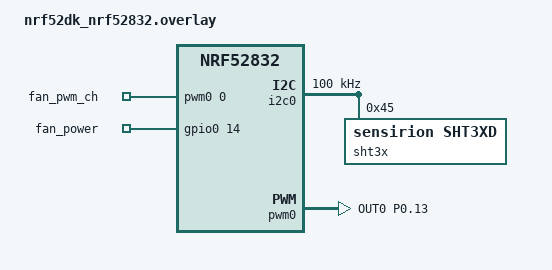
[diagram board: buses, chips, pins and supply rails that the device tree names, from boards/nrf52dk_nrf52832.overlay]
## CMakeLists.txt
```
cmake_minimum_required(VERSION 3.20.0)
find_package(Zephyr REQUIRED HINTS $ENV{ZEPHYR_BASE})
project(coolingdock_nrf)

target_sources(app PRIVATE
	src/main.c
	src/sys_data.c
	src/sensor.c
	src/fan.c
	src/control.c
	src/control_logic.c
	src/json_io.c
	src/cmd_interpreter.c
	src/ble_svc.c
)

target_include_directories(app PRIVATE src)

# Tighten warnings on app sources. We don't add -Werror here because
# Zephyr's own headers occasionally trip GCC pedantic warnings on
# specific board targets; -Werror is enabled in the test builds (see
# tests/*/prj.conf) where we control the surface area.
target_compile_options(app PRIVATE -Wall -Wextra)
```

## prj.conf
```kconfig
# ---------------------------------------------------------------- Bluetooth
CONFIG_BT=y
CONFIG_BT_PERIPHERAL=y
CONFIG_BT_DEVICE_NAME="CoolingDockNRF"
CONFIG_BT_DEVICE_NAME_DYNAMIC=y
CONFIG_BT_DEVICE_NAME_MAX=24
CONFIG_BT_MAX_CONN=1

# Larger MTU so JSON status notifications fit without app-side fragmentation.
# Frontend chunks writes at 200 B; mirror that on the link layer.
CONFIG_BT_L2CAP_TX_MTU=247
CONFIG_BT_BUF_ACL_RX_SIZE=251
CONFIG_BT_BUF_ACL_TX_SIZE=251
CONFIG_BT_CTLR_DATA_LENGTH_MAX=251

# ---------------------------------------------- Pairing & bond persistence
# Encrypted characteristic perms cause the host to trigger LE Secure
# Connections just-works pairing automatically on first read; the bond is
# then stored to flash and reused on subsequent connections.
CONFIG_BT_SMP=y
CONFIG_BT_SMP_SC_PAIR_ONLY=y
CONFIG_BT_BONDABLE=y
CONFIG_BT_SETTINGS=y

# Filter Accept List — used to restrict advertising to bonded peers
# after the 120 s open pairing window expires.
CONFIG_BT_FILTER_ACCEPT_LIST=y

# When the bond table is full, evict the oldest bond instead of
# refusing the new pairing.
CONFIG_BT_KEYS_OVERWRITE_OLDEST=y

# -------------------------------------------------------------- Sensors / I2C
CONFIG_I2C=y
CONFIG_SENSOR=y
CONFIG_SHT3XD=y
# Single-shot measurement mode is more tolerant of marginal I2C lines
# than the default periodic mode — each sample is its own send-cmd +
# read-result transaction with no persistent chip state to break.
CONFIG_SHT3XD_SINGLE_SHOT_MODE=y

# -------------------------------------------------------------- PWM / GPIO
CONFIG_PWM=y
CONFIG_GPIO=y

# -------------------------------------- Persistent settings (NVS-backed)
CONFIG_FLASH=y
CONFIG_FLASH_PAGE_LAYOUT=y
CONFIG_FLASH_MAP=y
CONFIG_NVS=y
CONFIG_SETTINGS=y
CONFIG_SETTINGS_NVS=y

# ------------------------------------------------------------------ Logging
CONFIG_LOG=y
CONFIG_LOG_DEFAULT_LEVEL=3

# ----------------------------------------------------------- Heap / stacks
CONFIG_HEAP_MEM_POOL_SIZE=4096
CONFIG_MAIN_STACK_SIZE=2048
CONFIG_SYSTEM_WORKQUEUE_STACK_SIZE=2048

# ----------------------------------------------------------- Misc
CONFIG_REBOOT=y

# ----------------------------------------------------------- Power management
# Let the kernel place the SoC into deep sleep states between events.
# Harmless on USB-powered builds; load-bearing when serial is also
# disabled (see power_profile.conf for the power-test build path).
# DCDC mode is enabled by the board file at `&reg`; no Kconfig needed.
CONFIG_PM=y
CONFIG_PM_DEVICE=y
# CONFIG_LOG_BACKEND_UART=n         # add this (or set CONFIG_LOG=n entirely)                                 
# CONFIG_LOG_BACKEND_RTT=y          # if you want logs via RTT instead 
```

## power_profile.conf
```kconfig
# Power-profile build overrides.
#
# Layered on top of prj.conf when measuring with the PPK2:
#
#   west build -b nrf52dk/nrf52832 -p always . -- -DEXTRA_CONF_FILE=power_profile.conf
#   west flash
#
# Disables every always-on peripheral that's purely for development
# convenience (UART driver, console, log backend, boot banner) so the
# SoC can actually enter the deep sleep states the BLE controller
# leaves it in between adv events.
#
# Measured impact on this firmware (advertising-only mode, no peer):
#   prj.conf alone (default):           1.45 mA average
#   prj.conf + this overlay:             377 µA average  (−74%)
#
# Trade-off: no boot log over the J-Link VCOM. For everyday development
# build without this overlay so you keep the console.

# UART driver out entirely — the peripheral itself, not just the log
# backend. CONFIG_SERIAL=y is the default and silently holds clocks
# active even with no log backend attached.
CONFIG_SERIAL=n
CONFIG_UART_CONSOLE=n
CONFIG_LOG_BACKEND_UART=n
CONFIG_BOOT_BANNER=n
```

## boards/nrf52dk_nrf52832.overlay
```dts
/* Devicetree overlay for the CoolingDock-equivalent build on the
 * nRF52832 DK (PCA10040). Pin labels are the on-board silkscreen
 * Pn.mm format (port n, pin mm); see the silkscreen on the board
 * back-side or refer to the PCA10040 hardware files for physical
 * header positions.
 *
 * Pin map:
 *   P0.27   I2C0 SCL        -> SHT3x SCL
 *   P0.26   I2C0 SDA        -> SHT3x SDA
 *   P0.13   PWM0 channel 0  -> Fan PWM   (22 kHz)
 *   P0.14   GPIO out        -> Fan power gate (active-high)
 */

#include <zephyr/dt-bindings/pwm/pwm.h>

/* ------------------------------------------------------------------ pinctrl */

&pinctrl {
	pwm0_default: pwm0_default {
		group1 {
			psels = <NRF_PSEL(PWM_OUT0, 0, 13)>;
		};
	};

	pwm0_sleep: pwm0_sleep {
		group1 {
			psels = <NRF_PSEL(PWM_OUT0, 0, 13)>;
			low-power-enable;
		};
	};
};

/* P0.13 / P0.14 are also BUTTON1 / BUTTON2 on PCA10040; we use them as
 * fan PWM and fan-power-gate outputs, so disable the board's button
 * nodes for those pins to prevent a future Kconfig flip from claiming
 * them under us. */
&button0 { status = "disabled"; };
&button1 { status = "disabled"; };

/* --------------------------------------------------------------------- I2C0 */

&i2c0 {
	status = "okay";
	/* nRF52 TWI peripheral only accepts 100 kHz / 250 kHz / 400 kHz
	 * (any other value triggers a build-time BUILD_ASSERT). Stick
	 * with standard 100 kHz; if the bus is marginal because of weak
	 * pull-ups, the fix is to add physical 4.7 kΩ resistors to
	 * VDD on SDA + SCL — slowing the clock isn't an option here. */
	clock-frequency = <I2C_BITRATE_STANDARD>;

	sht3x: sht3xd@45 {
		compatible = "sensirion,sht3xd";
		reg = <0x45>;     /* SHT3x ADDR pin tied to VDD. Tie ADDR to GND for 0x44. */
	};
};

/* --------------------------------------------------------------------- PWM0 */

&pwm0 {
	status = "okay";
	pinctrl-0 = <&pwm0_default>;
	pinctrl-1 = <&pwm0_sleep>;
	pinctrl-names = "default", "sleep";
};

/* ---------------------------------------------- application aliases / nodes */

/ {
	fan_pwms {
		compatible = "pwm-leds";
		status = "okay";
		fan_pwm_ch: fan_pwm_ch {
			pwms = <&pwm0 0 PWM_HZ(22000) PWM_POLARITY_NORMAL>;
		};
	};

	fan_power_gpios {
		compatible = "gpio-leds";
		status = "okay";
		fan_power: fan_power {
			gpios = <&gpio0 14 GPIO_ACTIVE_HIGH>;
		};
	};

	aliases {
		fan-pwm     = &fan_pwm_ch;
		fan-power   = &fan_power;
		sht3x       = &sht3x;
		/* BUTTON3 on PCA10040 (P0.15). Hold for 5 s to reopen the
		 * 120 s BLE pairing window. The DK board file already
		 * declares button2 with proper GPIO_PULL_UP|ACTIVE_LOW. */
		pairing-btn = &button2;
	};
};
```

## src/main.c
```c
#include <zephyr/kernel.h>
#include <zephyr/settings/settings.h>
#include <zephyr/logging/log.h>

#include "sys_data.h"
#include "sensor.h"
#include "fan.h"
#include "control.h"
#include "cmd_interpreter.h"
#include "ble_svc.h"

LOG_MODULE_REGISTER(main, LOG_LEVEL_INF);

int main(void)
{
	int rc;

	LOG_INF("CoolingDock-NRF starting");

	rc = settings_subsys_init();
	if (rc) LOG_ERR("settings_subsys_init: %d", rc);

	(void)sys_data_init();      /* loads persisted overrides */
	cmd_interpreter_init();          /* caches device UID */

	rc = fan_init();
	if (rc) LOG_ERR("fan_init: %d", rc);

	sensor_start();
	control_start();

	rc = ble_svc_start();
	if (rc) LOG_ERR("ble_svc_start: %d", rc);

	LOG_INF("init complete");
	return 0;
}
```

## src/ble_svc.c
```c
#include "ble_svc.h"
#include "cmd_interpreter.h"
#include "json_io.h"
#include "sys_data.h"

#include <errno.h>
#include <string.h>
#include <zephyr/kernel.h>
#include <zephyr/sys/atomic.h>
#include <zephyr/drivers/gpio.h>
#include <zephyr/bluetooth/bluetooth.h>
#include <zephyr/bluetooth/conn.h>
#include <zephyr/bluetooth/gap.h>
#include <zephyr/bluetooth/gatt.h>
#include <zephyr/bluetooth/uuid.h>
#include <zephyr/bluetooth/hci.h>
#include <zephyr/settings/settings.h>
#include <zephyr/logging/log.h>

LOG_MODULE_REGISTER(ble_svc, LOG_LEVEL_INF);

/* ----------------------------------------------------------- UUIDs
 *
 * Wire-compatible with the React frontend at react_projects/CoolingDock.
 *   Service:  59462f12-9543-9999-12c8-58b459a2712d
 *   Status:   33333333-2222-2222-1111-111100000001  R + N (encrypted)
 *   Command:  33333333-2222-2222-1111-111100000002  W     (encrypted)
 *   DevInfo:  33333333-2222-2222-1111-111100000004  R     (encrypted)
 *   PrpConf:  33333333-2222-2222-1111-111100000005  R     (encrypted)
 */

#define UUID_SVC_VAL \
	BT_UUID_128_ENCODE(0x59462f12, 0x9543, 0x9999, 0x12c8, 0x58b459a2712dULL)
#define UUID_STATUS_VAL \
	BT_UUID_128_ENCODE(0x33333333, 0x2222, 0x2222, 0x1111, 0x111100000001ULL)
#define UUID_CMD_VAL \
	BT_UUID_128_ENCODE(0x33333333, 0x2222, 0x2222, 0x1111, 0x111100000002ULL)
#define UUID_DEVINFO_VAL \
	BT_UUID_128_ENCODE(0x33333333, 0x2222, 0x2222, 0x1111, 0x111100000004ULL)
#define UUID_PRPCONF_VAL \
	BT_UUID_128_ENCODE(0x33333333, 0x2222, 0x2222, 0x1111, 0x111100000005ULL)

static const struct bt_uuid_128 uuid_svc     = BT_UUID_INIT_128(UUID_SVC_VAL);
static const struct bt_uuid_128 uuid_status  = BT_UUID_INIT_128(UUID_STATUS_VAL);
static const struct bt_uuid_128 uuid_cmd     = BT_UUID_INIT_128(UUID_CMD_VAL);
static const struct bt_uuid_128 uuid_devinfo = BT_UUID_INIT_128(UUID_DEVINFO_VAL);
static const struct bt_uuid_128 uuid_prpconf = BT_UUID_INIT_128(UUID_PRPCONF_VAL);

/* ------------------------------------------------------- adv data
 *
 * NCS v3.3 / Zephyr 4.x removed BT_LE_ADV_OPT_USE_NAME — we have to put
 * the name TLV in `ad[]` ourselves. To stay responsive to bt_set_name()
 * at runtime, we rebuild this array (see build_ad below) right before
 * each bt_le_adv_start, reading the current value via bt_get_name().
 */

static const uint8_t flags_byte = (BT_LE_AD_GENERAL | BT_LE_AD_NO_BREDR);
static struct bt_data ad[2];

static void build_ad(void)
{
	const char *name = bt_get_name();
	size_t name_len = name ? strlen(name) : 0;

	ad[0] = (struct bt_data){
		.type     = BT_DATA_FLAGS,
		.data_len = sizeof(flags_byte),
		.data     = &flags_byte,
	};
	ad[1] = (struct bt_data){
		.type     = BT_DATA_NAME_COMPLETE,
		.data_len = (uint8_t)name_len,
		.data     = (const uint8_t *)name,
	};
}

static const struct bt_data sd[] = {
	BT_DATA_BYTES(BT_DATA_UUID128_ALL, UUID_SVC_VAL),
};

/* Connectable, accepts any peer — used during the open pairing window. */
#define ADV_OPEN_PARAM \
	BT_LE_ADV_PARAM(BT_LE_ADV_OPT_CONN, \
			BT_GAP_ADV_FAST_INT_MIN_1, \
			BT_GAP_ADV_FAST_INT_MAX_1, NULL)

/* Connectable, but Filter Accept List restricts which peers can connect —
 * used after the open window expires (or after a successful pairing). */
#define ADV_BONDED_ONLY_PARAM \
	BT_LE_ADV_PARAM(BT_LE_ADV_OPT_CONN | BT_LE_ADV_OPT_FILTER_CONN, \
			BT_GAP_ADV_FAST_INT_MIN_2, \
			BT_GAP_ADV_FAST_INT_MAX_2, NULL)

/* ----------------------------------------------------- runtime state */

#define CMD_BUF_SIZE         512
#define RESP_BUF_SIZE        512
#define STATUS_BUF_SIZE      384
#define NOTIFY_PERIOD_MS     500
#define NOTIFY_STACK_SIZE    2048
#define CMD_STACK_SIZE       2048

#define PAIRING_WINDOW_MS    (120 * 1000)
#define PAIRING_BTN_HOLD_MS  5000

enum adv_mode { ADV_OPEN = 0, ADV_BONDED_ONLY = 1 };

static atomic_t adv_mode_v     = ATOMIC_INIT(ADV_OPEN);
static atomic_t is_connected   = ATOMIC_INIT(0);
static atomic_t notify_enabled = ATOMIC_INIT(0);
static struct bt_conn *current_conn;

static const struct bt_gatt_attr *attr_status_value;

/* ------------------------------------------------ command-dispatch queue */

struct cmd_msg {
	uint16_t len;
	char     buf[CMD_BUF_SIZE];
};

K_MSGQ_DEFINE(cmd_q, sizeof(struct cmd_msg), 4, 4);

static struct {
	char     buf[CMD_BUF_SIZE];
	size_t   pos;
	int      depth;
	bool     in_string;
	bool     escape_next;
} acc;

static void acc_reset(void)
{
	acc.pos = 0;
	acc.depth = 0;
	acc.in_string = false;
	acc.escape_next = false;
}

/* ============================================================
 *                     Pairing window
 * ============================================================ */

static void pairing_window_expired(struct k_work *w);
static K_WORK_DELAYABLE_DEFINE(pairing_window_work, pairing_window_expired);

/* -------------------------------------- Filter Accept List helpers */

static void fal_add_one(const struct bt_bond_info *info, void *user_data)
{
	int *count = user_data;
	int rc = bt_le_filter_accept_list_add(&info->addr);
	if (rc) {
		LOG_WRN("FAL add: %d", rc);
	} else {
		(*count)++;
	}
}

static int fal_repopulate(void)
{
	int rc = bt_le_filter_accept_list_clear();
	if (rc) LOG_WRN("FAL clear: %d", rc);

	int count = 0;
	bt_foreach_bond(BT_ID_DEFAULT, fal_add_one, &count);
	return count;
}

/* ---------------------------------------- start advertising
 *
 * Runs only on the system workqueue (via adv_kick_work) so that the
 * BT host, the timer, the auth-info callback and the button can all
 * call request_advertising() concurrently without racing on
 * bt_le_adv_start/stop. */
static int start_advertising_now(void)
{
	(void)bt_le_adv_stop();   /* idempotent */

	/* Re-read the current device name from the host so SetDeviceName
	 * mutations take effect on the next ADV_IND packet. */
	build_ad();

	if (atomic_get(&adv_mode_v) == ADV_BONDED_ONLY) {
		int n = fal_repopulate();
		if (n == 0) {
			LOG_WRN("BONDED_ONLY: no bonds → not advertising. "
				"Hold BUTTON3 for 5 s to reopen pairing window.");
			return -ENOENT;
		}
		int rc = bt_le_adv_start(ADV_BONDED_ONLY_PARAM,
					 ad, ARRAY_SIZE(ad),
					 sd, ARRAY_SIZE(sd));
		if (rc) {
			LOG_ERR("adv start (bonded-only): %d", rc);
		} else {
			LOG_INF("adv: BONDED_ONLY (%d bond%s in FAL)",
				n, n == 1 ? "" : "s");
		}
		return rc;
	}

	int rc = bt_le_adv_start(ADV_OPEN_PARAM,
				 ad, ARRAY_SIZE(ad),
				 sd, ARRAY_SIZE(sd));
	if (rc) {
		LOG_ERR("adv start (open): %d", rc);
	} else {
		LOG_INF("adv: OPEN (any client may pair, %u s window)",
			PAIRING_WINDOW_MS / 1000);
	}
	return rc;
}

static void adv_kick_handler(struct k_work *w)
{
	ARG_UNUSED(w);
	(void)start_advertising_now();
}
static K_WORK_DEFINE(adv_kick_work, adv_kick_handler);

/* All callers must use this; it serializes via the system workqueue. */
static void request_advertising(void)
{
	(void)k_work_submit(&adv_kick_work);
}

/* ---------------------------------------- mode transitions */

struct disconnect_ctx { int count; };

static void disconnect_one(struct bt_conn *conn, void *data)
{
	struct disconnect_ctx *ctx = data;
	(void)bt_conn_disconnect(conn, BT_HCI_ERR_REMOTE_USER_TERM_CONN);
	ctx->count++;
}

static void enter_open_window(void)
{
	atomic_set(&adv_mode_v, ADV_OPEN);
	(void)k_work_reschedule(&pairing_window_work, K_MSEC(PAIRING_WINDOW_MS));

	/* bt_conn_foreach iterates the host's internal list under lock and
	 * passes a still-valid pointer to our callback — safer than
	 * dereferencing the cached current_conn from a non-BT thread. */
	struct disconnect_ctx ctx = { 0 };
	bt_conn_foreach(BT_CONN_TYPE_LE, disconnect_one, &ctx);

	if (ctx.count > 0) {
		LOG_INF("disconnecting %d peer(s) to apply reopened pairing window",
			ctx.count);
		/* disconnected_cb will request_advertising once the link is down. */
	} else {
		request_advertising();
	}
}

static void enter_bonded_only(void)
{
	atomic_set(&adv_mode_v, ADV_BONDED_ONLY);
	(void)k_work_cancel_delayable(&pairing_window_work);

	if (!atomic_get(&is_connected)) {
		request_advertising();
	}
}

static void pairing_window_expired(struct k_work *w)
{
	ARG_UNUSED(w);
	LOG_INF("pairing window expired");
	enter_bonded_only();
}

/* ---------------------------------------- pairing-complete callback */

static void pairing_complete_cb(struct bt_conn *conn, bool bonded)
{
	ARG_UNUSED(conn);
	if (bonded) {
		LOG_INF("client bonded → closing pairing window");
		enter_bonded_only();
	}
}

static struct bt_conn_auth_info_cb auth_info_cb = {
	.pairing_complete = pairing_complete_cb,
};

/* ============================================================
 *                  BUTTON3 long-press detector
 * ============================================================ */

static const struct gpio_dt_spec pairing_btn =
	GPIO_DT_SPEC_GET(DT_ALIAS(pairing_btn), gpios);
static struct gpio_callback btn_cb_data;

static void btn_long_press(struct k_work *w);
static K_WORK_DELAYABLE_DEFINE(btn_hold_work, btn_long_press);

static void btn_long_press(struct k_work *w)
{
	ARG_UNUSED(w);
	if (gpio_pin_get_dt(&pairing_btn) != 1) {
		return;     /* released between schedule and fire */
	}
	LOG_INF("BUTTON3 held %d ms → reopening pairing window",
		PAIRING_BTN_HOLD_MS);
	enter_open_window();
}

static void btn_isr(const struct device *dev, struct gpio_callback *cb,
		    uint32_t pins)
{
	ARG_UNUSED(dev); ARG_UNUSED(cb); ARG_UNUSED(pins);

	int v = gpio_pin_get_dt(&pairing_btn);
	if (v == 1) {
		(void)k_work_reschedule(&btn_hold_work,
					K_MSEC(PAIRING_BTN_HOLD_MS));
	} else {
		(void)k_work_cancel_delayable(&btn_hold_work);
	}
}

static int pairing_btn_init(void)
{
	if (!gpio_is_ready_dt(&pairing_btn)) {
		LOG_ERR("pairing button GPIO not ready");
		return -ENODEV;
	}
	int rc = gpio_pin_configure_dt(&pairing_btn, GPIO_INPUT);
	if (rc) return rc;
	rc = gpio_pin_interrupt_configure_dt(&pairing_btn, GPIO_INT_EDGE_BOTH);
	if (rc) return rc;
	gpio_init_callback(&btn_cb_data, btn_isr, BIT(pairing_btn.pin));
	rc = gpio_add_callback(pairing_btn.port, &btn_cb_data);
	return rc;
}

/* ============================================================
 *                  Public name-change hook
 * ============================================================ */

int ble_svc_apply_name(const char *name)
{
	if (!name) return -EINVAL;
	int rc = bt_set_name(name);
	if (rc) {
		LOG_WRN("bt_set_name(\"%s\"): %d", name, rc);
		return rc;
	}
	/* Re-arm adv so the new name lands in the next ADV_IND packet. */
	request_advertising();
	return 0;
}

/* ============================================================
 *                       GATT handlers
 * ============================================================ */

static int status_notify(const char *payload, size_t len)
{
	if (!atomic_get(&is_connected) || !atomic_get(&notify_enabled)) {
		return -ENOTCONN;
	}
	int rc = bt_gatt_notify(NULL, attr_status_value, payload, len);
	if (rc == -EMSGSIZE) {
		LOG_WRN("notify payload %u B exceeds negotiated MTU", (unsigned)len);
	} else if (rc && rc != -ENOTCONN) {
		LOG_DBG("notify: %d", rc);
	}
	return rc;
}

static ssize_t read_devinfo(struct bt_conn *conn,
			    const struct bt_gatt_attr *attr,
			    void *buf, uint16_t len, uint16_t offset)
{
	char tmp[256];
	ssize_t n = cmd_interpreter_dispatch("{\"cmd\":\"GetDeviceInfo\"}",
					sizeof("{\"cmd\":\"GetDeviceInfo\"}") - 1,
					tmp, sizeof(tmp));
	if (n < 0) return BT_GATT_ERR(BT_ATT_ERR_UNLIKELY);
	return bt_gatt_attr_read(conn, attr, buf, len, offset, tmp, (size_t)n);
}

static ssize_t read_prpconf(struct bt_conn *conn,
			    const struct bt_gatt_attr *attr,
			    void *buf, uint16_t len, uint16_t offset)
{
	char tmp[256];
	ssize_t n = cmd_interpreter_dispatch("{\"cmd\":\"GetPeripheralSetsConfig\"}",
					sizeof("{\"cmd\":\"GetPeripheralSetsConfig\"}") - 1,
					tmp, sizeof(tmp));
	if (n < 0) return BT_GATT_ERR(BT_ATT_ERR_UNLIKELY);
	return bt_gatt_attr_read(conn, attr, buf, len, offset, tmp, (size_t)n);
}

static ssize_t read_status(struct bt_conn *conn,
			   const struct bt_gatt_attr *attr,
			   void *buf, uint16_t len, uint16_t offset)
{
	char tmp[STATUS_BUF_SIZE];
	ssize_t n = cmd_interpreter_dispatch("{\"cmd\":\"GetStatusData\"}",
					sizeof("{\"cmd\":\"GetStatusData\"}") - 1,
					tmp, sizeof(tmp));
	if (n < 0) return BT_GATT_ERR(BT_ATT_ERR_UNLIKELY);
	return bt_gatt_attr_read(conn, attr, buf, len, offset, tmp, (size_t)n);
}

static ssize_t write_cmd(struct bt_conn *conn,
			 const struct bt_gatt_attr *attr,
			 const void *buf, uint16_t len,
			 uint16_t offset, uint8_t flags)
{
	ARG_UNUSED(conn); ARG_UNUSED(attr); ARG_UNUSED(offset); ARG_UNUSED(flags);

	const char *data = buf;

	for (uint16_t i = 0; i < len; i++) {
		if (acc.pos >= sizeof(acc.buf) - 1) {
			LOG_ERR("cmd accumulator overflow; resetting");
			acc_reset();
			return BT_GATT_ERR(BT_ATT_ERR_INSUFFICIENT_RESOURCES);
		}

		char c = data[i];
		acc.buf[acc.pos++] = c;

		if (acc.escape_next) { acc.escape_next = false; continue; }
		if (acc.in_string) {
			if      (c == '\\') acc.escape_next = true;
			else if (c == '"')  acc.in_string   = false;
			continue;
		}
		if (c == '"') { acc.in_string = true;  continue; }
		if (c == '{') acc.depth++;
		else if (c == '}') {
			acc.depth--;
			if (acc.depth == 0 && acc.pos > 0) {
				acc.buf[acc.pos] = '\0';
				struct cmd_msg msg;
				msg.len = (uint16_t)acc.pos;
				memcpy(msg.buf, acc.buf, acc.pos + 1);
				if (k_msgq_put(&cmd_q, &msg, K_NO_WAIT) != 0) {
					LOG_WRN("cmd_q full; dropping");
				}
				acc_reset();
			}
		}
	}
	return len;
}

static void status_ccc_changed(const struct bt_gatt_attr *attr, uint16_t value)
{
	ARG_UNUSED(attr);
	atomic_set(&notify_enabled, value == BT_GATT_CCC_NOTIFY ? 1 : 0);
	LOG_INF("status notify %s",
		value == BT_GATT_CCC_NOTIFY ? "enabled" : "disabled");
}

BT_GATT_SERVICE_DEFINE(coolingdock_svc,
	BT_GATT_PRIMARY_SERVICE(&uuid_svc),

	BT_GATT_CHARACTERISTIC(&uuid_status.uuid,
		BT_GATT_CHRC_READ | BT_GATT_CHRC_NOTIFY,
		BT_GATT_PERM_READ_ENCRYPT,
		read_status, NULL, NULL),
	BT_GATT_CCC(status_ccc_changed,
		BT_GATT_PERM_READ | BT_GATT_PERM_WRITE_ENCRYPT),

	BT_GATT_CHARACTERISTIC(&uuid_cmd.uuid,
		BT_GATT_CHRC_WRITE,
		BT_GATT_PERM_WRITE_ENCRYPT,
		NULL, write_cmd, NULL),

	BT_GATT_CHARACTERISTIC(&uuid_devinfo.uuid,
		BT_GATT_CHRC_READ,
		BT_GATT_PERM_READ_ENCRYPT,
		read_devinfo, NULL, NULL),

	BT_GATT_CHARACTERISTIC(&uuid_prpconf.uuid,
		BT_GATT_CHRC_READ,
		BT_GATT_PERM_READ_ENCRYPT,
		read_prpconf, NULL, NULL),
);

#define ATTR_STATUS_VALUE_IDX  2

/* ============================================================
 *                  Connection lifecycle
 * ============================================================ */

static void connected_cb(struct bt_conn *conn, uint8_t err)
{
	if (err) {
		LOG_ERR("connect failed: 0x%02x", err);
		return;
	}
	current_conn = bt_conn_ref(conn);
	atomic_set(&is_connected, 1);
	LOG_INF("connected (mode=%s)",
		atomic_get(&adv_mode_v) == ADV_OPEN ? "OPEN" : "BONDED_ONLY");
}

static void disconnected_cb(struct bt_conn *conn, uint8_t reason)
{
	ARG_UNUSED(conn);
	atomic_set(&is_connected, 0);
	atomic_set(&notify_enabled, 0);
	if (current_conn) {
		bt_conn_unref(current_conn);
		current_conn = NULL;
	}
	acc_reset();
	LOG_INF("disconnected: 0x%02x", reason);

	request_advertising();
}

BT_CONN_CB_DEFINE(conn_callbacks) = {
	.connected    = connected_cb,
	.disconnected = disconnected_cb,
};

/* ============================================================
 *           Status push thread + command worker thread
 * ============================================================ */

static K_THREAD_STACK_DEFINE(notify_stack, NOTIFY_STACK_SIZE);
static struct k_thread notify_tcb;

static void notify_thread(void *p1, void *p2, void *p3)
{
	ARG_UNUSED(p1); ARG_UNUSED(p2); ARG_UNUSED(p3);
	char buf[STATUS_BUF_SIZE];

	while (1) {
		k_msleep(NOTIFY_PERIOD_MS);

		if (!atomic_get(&is_connected) || !atomic_get(&notify_enabled)) continue;

		ssize_t n = cmd_interpreter_dispatch("{\"cmd\":\"GetStatusData\"}",
						sizeof("{\"cmd\":\"GetStatusData\"}") - 1,
						buf, sizeof(buf));
		if (n > 0) (void)status_notify(buf, (size_t)n);
	}
}

static K_THREAD_STACK_DEFINE(cmd_stack, CMD_STACK_SIZE);
static struct k_thread cmd_tcb;

static void cmd_thread(void *p1, void *p2, void *p3)
{
	ARG_UNUSED(p1); ARG_UNUSED(p2); ARG_UNUSED(p3);

	struct cmd_msg msg;
	char           resp[RESP_BUF_SIZE];

	while (1) {
		k_msgq_get(&cmd_q, &msg, K_FOREVER);
		ssize_t n = cmd_interpreter_dispatch(msg.buf, msg.len, resp, sizeof(resp));
		if (n > 0) (void)status_notify(resp, (size_t)n);
	}
}

/* ============================================================
 *                       public start
 * ============================================================ */

int ble_svc_start(void)
{
	int rc = bt_enable(NULL);
	if (rc) {
		LOG_ERR("bt_enable: %d", rc);
		return rc;
	}

	if (IS_ENABLED(CONFIG_BT_SETTINGS)) {
		settings_load();
	}

	rc = bt_conn_auth_info_cb_register(&auth_info_cb);
	if (rc) {
		LOG_ERR("auth_info_cb register: %d", rc);
		return rc;
	}

	rc = pairing_btn_init();
	if (rc) {
		LOG_WRN("pairing button init failed (%d) — manual reopen unavailable", rc);
	}

	attr_status_value = &coolingdock_svc.attrs[ATTR_STATUS_VALUE_IDX];

	/* Sync the BT host's name with whatever sys_data has after settings
	 * load. Persisted SetDeviceName values take effect on this boot. */
	{
		char name[SYS_DEVICE_NAME_MAX];
		if (sys_data_get_name(name, sizeof(name)) == 0 && name[0]) {
			(void)bt_set_name(name);
		}
	}

	/* Always boot into the open pairing window (per spec). */
	atomic_set(&adv_mode_v, ADV_OPEN);
	(void)k_work_schedule(&pairing_window_work, K_MSEC(PAIRING_WINDOW_MS));

	request_advertising();

	k_thread_create(&notify_tcb, notify_stack, K_THREAD_STACK_SIZEOF(notify_stack),
			notify_thread, NULL, NULL, NULL, 5, 0, K_NO_WAIT);
	k_thread_name_set(&notify_tcb, "ble_notify");

	k_thread_create(&cmd_tcb, cmd_stack, K_THREAD_STACK_SIZEOF(cmd_stack),
			cmd_thread, NULL, NULL, NULL, 5, 0, K_NO_WAIT);
	k_thread_name_set(&cmd_tcb, "ble_cmd");

	return 0;
}
```

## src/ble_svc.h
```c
#ifndef APP_BLE_SVC_H_
#define APP_BLE_SVC_H_

/* Bring up the Bluetooth host, register the GATT service, start
 * advertising, and spawn the status-notify and command-dispatch threads.
 *
 * Must be called *after* settings_subsys_init() — CONFIG_BT_SETTINGS
 * persists bonds via the same settings backend, and bt_enable() loads
 * them. */
int  ble_svc_start(void);

/* Push a new device name into the BT host (bt_set_name + adv re-arm).
 * Called by cmd_interpreter after SetDeviceName mutates sys_data so the
 * advertised name actually reflects what GetDeviceInfo reports. */
int  ble_svc_apply_name(const char *name);

#endif /* APP_BLE_SVC_H_ */
```

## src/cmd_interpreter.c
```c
#include "cmd_interpreter.h"
#include "sys_data.h"
#include "sensor.h"
#include "control.h"
#include "json_io.h"
#include "ble_svc.h"

#include <errno.h>
#include <stdio.h>
#include <string.h>
#include <zephyr/kernel.h>
#include <zephyr/sys/reboot.h>
#include <zephyr/logging/log.h>

#include <nrfx.h>           /* NRF_FICR */

LOG_MODULE_REGISTER(cmd_interpreter, LOG_LEVEL_INF);

#define FW_VERSION  "0.1.0"
#define BOARD_NAME  CONFIG_BOARD

/* UpdateRet `code` values that the frontend understands. The original
 * CoolingDock spec defines 0=success, 1=already-up-to-date, 12=progress.
 * We use a small disjoint set of failure codes that don't collide. */
#define URET_OK         0
#define URET_NOOP       1   /* already in requested state */
#define URET_FAIL       2   /* generic failure (I/O, write, …) */
#define URET_BAD_REQ    3   /* malformed args, missing fields, bad mode */
#define URET_UNSUPP     4   /* unknown command */

static char uid_str[17];   /* 16 hex + NUL */

/* ---------------------------------------------------------------- init */

void cmd_interpreter_init(void)
{
	uint32_t low  = NRF_FICR->DEVICEID[0];
	uint32_t high = NRF_FICR->DEVICEID[1];
	snprintf(uid_str, sizeof(uid_str), "%08x%08x",
		 (unsigned)high, (unsigned)low);
}

/* ----------------------------------------------------- mode parsing */

static int parse_mode(const char *s, uint8_t *out)
{
	if (!s) return -EINVAL;
	if (!strcmp(s, "power"))    { *out = PRF_MODE_POWER;    return 0; }
	if (!strcmp(s, "fixed"))    { *out = PRF_MODE_FIXED;    return 0; }
	if (!strcmp(s, "sensor"))   { *out = PRF_MODE_SENSOR;   return 0; }
	if (!strcmp(s, "cycle"))    { *out = PRF_MODE_CYCLE;    return 0; }
	if (!strcmp(s, "schedule")) { *out = PRF_MODE_SCHEDULE; return 0; }
	return -EINVAL;
}

/* ---------------------------------- delayed reboot for Restart commands */

static void reboot_work_handler(struct k_work *w)
{
	ARG_UNUSED(w);
	LOG_INF("rebooting now");
	sys_reboot(SYS_REBOOT_COLD);
}
static K_WORK_DELAYABLE_DEFINE(reboot_work, reboot_work_handler);

/* ------------------------------------------------ command handlers */

static ssize_t handle_get_status(char *out, size_t cap)
{
	struct prf_cfg cfg;
	struct sensor_reading r = { 0 };
	(void)sys_data_get_prf(0, &cfg);
	bool valid = (sensor_get(&r) == 0);

	return jsf_status(out, cap,
			  sys_data_get_master(), valid,
			  r.temp_centi_c, r.humid_centi_pct,
			  &cfg, control_get_actual_pwm(),
			  control_get_status());
}

static ssize_t handle_get_devinfo(char *out, size_t cap)
{
	char name[SYS_DEVICE_NAME_MAX];
	(void)sys_data_get_name(name, sizeof(name));
	return jsf_devinfo(out, cap, name, FW_VERSION, uid_str, BOARD_NAME);
}

static ssize_t handle_get_prpconf(char *out, size_t cap)
{
	struct prf_cfg cfg;
	(void)sys_data_get_prf(0, &cfg);
	return jsf_prpconf(out, cap, &cfg);
}

static ssize_t handle_set_peripheral(const char *json, char *out, size_t cap)
{
	int32_t idx = 0;
	(void)jsp_get_int(json, "index", &idx);
	if (idx < 0 || idx >= SYS_PRF_COUNT) {
		return jsf_updateret(out, cap, URET_BAD_REQ, "bad index");
	}

	struct prf_cfg cfg;
	if (sys_data_get_prf((uint8_t)idx, &cfg) != 0) {
		return jsf_updateret(out, cap, URET_FAIL, NULL);
	}

	char mode_s[16] = {0};
	if (jsp_get_str(json, "mode", mode_s, sizeof(mode_s)) != 0 ||
	    parse_mode(mode_s, &cfg.mode) != 0) {
		return jsf_updateret(out, cap, URET_BAD_REQ, "bad mode");
	}

	int32_t i32;
	bool    b;

	switch (cfg.mode) {
	case PRF_MODE_POWER:
		if (jsp_get_bool(json, "pwr", &b) == 0) cfg.pwr = b;
		break;

	case PRF_MODE_FIXED:
		if (jsp_get_int(json, "pwm", &i32) == 0) {
			if (i32 < 0)   i32 = 0;
			if (i32 > 100) i32 = 100;
			cfg.pwm_pct = (uint8_t)i32;
		}
		break;

	case PRF_MODE_SENSOR:
		if (jsp_get_int(json, "thr1", &i32) == 0) cfg.thr1_c = (int16_t)i32;
		if (jsp_get_int(json, "thr2", &i32) == 0) cfg.thr2_c = (int16_t)i32;
		if (cfg.thr2_c <= cfg.thr1_c) {
			return jsf_updateret(out, cap, URET_BAD_REQ, "thr2<=thr1");
		}
		break;

	case PRF_MODE_CYCLE:
		if (jsp_get_int(json, "pwm",  &i32) == 0) {
			if (i32 < 0)   i32 = 0;
			if (i32 > 100) i32 = 100;
			cfg.pwm_pct = (uint8_t)i32;
		}
		if (jsp_get_int(json, "con",  &i32) == 0 && i32 >= 0)
			cfg.con_sec  = (uint16_t)i32;
		if (jsp_get_int(json, "coff", &i32) == 0 && i32 >= 0)
			cfg.coff_sec = (uint16_t)i32;
		break;

	case PRF_MODE_SCHEDULE:
		if (jsp_get_int(json, "ont",  &i32) == 0 && i32 >= 0)
			cfg.ont_sec  = (uint32_t)i32;
		if (jsp_get_int(json, "offt", &i32) == 0 && i32 >= 0)
			cfg.offt_sec = (uint32_t)i32;
		LOG_WRN("schedule mode persisted but no RTC -> fan stays off");
		break;
	}

	int rc = sys_data_set_prf((uint8_t)idx, &cfg);
	return jsf_updateret(out, cap, rc == 0 ? URET_OK : URET_FAIL, NULL);
}

static ssize_t handle_set_master(const char *json, char *out, size_t cap)
{
	bool on;
	/* Frontend sends `{cmd: "SetMasterControl", on: <bool>}` (verified
	 * against react_projects/CoolingDock/src/App.tsx). */
	if (jsp_get_bool(json, "on", &on) != 0) {
		return jsf_updateret(out, cap, URET_BAD_REQ, "missing on");
	}
	int rc = sys_data_set_master(on);
	return jsf_updateret(out, cap, rc == 0 ? URET_OK : URET_FAIL, NULL);
}

static ssize_t handle_set_name(const char *json, char *out, size_t cap)
{
	char name[SYS_DEVICE_NAME_MAX];
	if (jsp_get_str(json, "name", name, sizeof(name)) != 0) {
		return jsf_updateret(out, cap, URET_BAD_REQ, "missing name");
	}
	int rc = sys_data_set_name(name);
	if (rc == 0) {
		/* Push the new name into the BLE host so adv + GAP reflect it. */
		(void)ble_svc_apply_name(name);
	}
	return jsf_updateret(out, cap, rc == 0 ? URET_OK : URET_FAIL, NULL);
}

static ssize_t handle_restart(char *out, size_t cap)
{
	k_work_schedule(&reboot_work, K_MSEC(500));
	return jsf_updateret(out, cap, URET_OK, "rebooting");
}

static ssize_t handle_factory(char *out, size_t cap)
{
	int rc = sys_data_factory_reset();
	if (rc == 0) k_work_schedule(&reboot_work, K_MSEC(500));
	return jsf_updateret(out, cap, rc == 0 ? URET_OK : URET_FAIL, "factory reset");
}

/* ----------------------------------------------------- entry point */

ssize_t cmd_interpreter_dispatch(const char *json_in, size_t in_len,
			    char *json_out, size_t out_cap)
{
	ARG_UNUSED(in_len);
	if (!json_in || !json_out || out_cap == 0) return -EINVAL;

	char cmd[40];
	if (jsp_get_str(json_in, "cmd", cmd, sizeof(cmd)) != 0) {
		return jsf_updateret(json_out, out_cap, URET_BAD_REQ, "no cmd");
	}

	LOG_DBG("dispatch cmd=%s", cmd);

	if (!strcmp(cmd, "GetStatusData"))            return handle_get_status(json_out, out_cap);
	if (!strcmp(cmd, "GetDeviceInfo"))            return handle_get_devinfo(json_out, out_cap);
	if (!strcmp(cmd, "GetPeripheralSetsConfig")) return handle_get_prpconf(json_out, out_cap);
	if (!strcmp(cmd, "SetPeripheralConfig"))     return handle_set_peripheral(json_in, json_out, out_cap);
	if (!strcmp(cmd, "SetMasterControl"))        return handle_set_master(json_in, json_out, out_cap);
	if (!strcmp(cmd, "SetDeviceName"))           return handle_set_name(json_in, json_out, out_cap);
	if (!strcmp(cmd, "Restart"))                 return handle_restart(json_out, out_cap);
	if (!strcmp(cmd, "RestoreFactory"))          return handle_factory(json_out, out_cap);

	LOG_WRN("unknown cmd: %s", cmd);
	return jsf_updateret(json_out, out_cap, URET_UNSUPP, "unknown cmd");
}
```

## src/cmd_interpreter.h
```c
#ifndef APP_CMD_INTERPRETER_H_
#define APP_CMD_INTERPRETER_H_

#include <stddef.h>
#include <sys/types.h>      /* ssize_t */

/* Dispatch a JSON command. Writes the response JSON into `out`.
 *
 * Returns the response length on success, 0 if the command produces no
 * response, or -errno on failure.
 *
 * Transport-agnostic: any caller (BLE, future serial/shell) can invoke
 * this with a complete JSON object and forward the response.
 */
ssize_t cmd_interpreter_dispatch(const char *json_in, size_t in_len,
			    char *json_out, size_t out_cap);

/* One-time setup: cache device UID, board name, etc. for GetDeviceInfo. */
void cmd_interpreter_init(void);

#endif /* APP_CMD_INTERPRETER_H_ */
```

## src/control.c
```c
#include "control.h"
#include "control_logic.h"
#include "sys_data.h"
#include "sensor.h"
#include "fan.h"

#include <zephyr/kernel.h>
#include <zephyr/sys/atomic.h>
#include <zephyr/logging/log.h>

LOG_MODULE_REGISTER(control, LOG_LEVEL_INF);

#define CONTROL_STACK_SIZE  1024
#define CONTROL_PRIORITY    5
#define CONTROL_PERIOD_MS   1000

static K_THREAD_STACK_DEFINE(control_stack, CONTROL_STACK_SIZE);
static struct k_thread control_tcb;

/* Read by the BLE thread, written by the control thread. Use atomics so
 * the C model can't tear or reorder. */
enum status_v { STAT_UNKNOWN = 0, STAT_RUNNING, STAT_STOPPED };

static atomic_t actual_pwm_a = ATOMIC_INIT(0);
static atomic_t status_a     = ATOMIC_INIT(STAT_UNKNOWN);

uint8_t control_get_actual_pwm(void) { return (uint8_t)atomic_get(&actual_pwm_a); }

const char *control_get_status(void)
{
	switch (atomic_get(&status_a)) {
	case STAT_RUNNING: return "running";
	case STAT_STOPPED: return "stopped";
	default:           return "unknown";
	}
}

/* sensor_mode_pwm() and cycle_mode_pwm() now live in control_logic.{h,c}
 * so they can be unit-tested on the host without dragging in Zephyr. */

static void apply_cfg(const struct prf_cfg *cfg, int16_t temp_centi_c, bool temp_valid,
		      uint32_t cycle_elapsed_ms)
{
	uint8_t target = 0;

	switch (cfg->mode) {
	case PRF_MODE_POWER:
		target = cfg->pwr ? 100 : 0;
		break;
	case PRF_MODE_FIXED:
		target = cfg->pwm_pct;
		break;
	case PRF_MODE_SENSOR:
		if (!temp_valid) {
			target = 0;
			break;
		}
		target = sensor_mode_pwm(temp_centi_c, cfg->thr1_c, cfg->thr2_c);
		break;
	case PRF_MODE_CYCLE:
		target = cycle_mode_pwm(cfg, cycle_elapsed_ms);
		break;
	case PRF_MODE_SCHEDULE:
	default:
		target = 0;   /* persisted but no RTC; leave fan off */
		break;
	}

	bool power_on = target > 0;
	fan_power_set(power_on);
	fan_set_percent(target);

	atomic_set(&actual_pwm_a, target);
	atomic_set(&status_a, power_on ? STAT_RUNNING : STAT_STOPPED);
}

static void control_thread(void *p1, void *p2, void *p3)
{
	ARG_UNUSED(p1); ARG_UNUSED(p2); ARG_UNUSED(p3);

	uint32_t cycle_elapsed_ms = 0;
	uint8_t  prev_mode = 0;
	bool     have_prev_mode = false;

	LOG_INF("control thread up (period %d ms)", CONTROL_PERIOD_MS);

	while (1) {
		struct prf_cfg cfg;
		struct sensor_reading r;

		(void)sys_data_get_prf(0, &cfg);
		bool temp_valid = (sensor_get(&r) == 0);
		bool master = sys_data_get_master();

		if (!have_prev_mode || cfg.mode != prev_mode) {
			cycle_elapsed_ms = 0;
			prev_mode = cfg.mode;
			have_prev_mode = true;
		}

		if (!master) {
			fan_power_set(false);
			fan_set_percent(0);
			atomic_set(&actual_pwm_a, 0);
			atomic_set(&status_a, STAT_STOPPED);
		} else {
			apply_cfg(&cfg, r.temp_centi_c, temp_valid, cycle_elapsed_ms);
		}

		k_msleep(CONTROL_PERIOD_MS);
		cycle_elapsed_ms += CONTROL_PERIOD_MS;
	}
}

void control_start(void)
{
	k_thread_create(&control_tcb, control_stack,
			K_THREAD_STACK_SIZEOF(control_stack),
			control_thread, NULL, NULL, NULL,
			CONTROL_PRIORITY, 0, K_NO_WAIT);
	k_thread_name_set(&control_tcb, "control");
}
```

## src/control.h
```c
#ifndef APP_CONTROL_H_
#define APP_CONTROL_H_

#include <stdint.h>

/* Spawn the temperature-control thread. Call after fan_init() and
 * sensor_start(). */
void control_start(void);

/* Snapshot of the actual fan output the control loop last commanded.
 * Status notifications report this so the frontend sees the truth, not the
 * configured setpoint. */
uint8_t control_get_actual_pwm(void);

/* "running" / "stopped" / "unknown" — string consumed by status JSON. */
const char *control_get_status(void);

#endif /* APP_CONTROL_H_ */
```

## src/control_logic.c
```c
#include "control_logic.h"

uint8_t sensor_mode_pwm(int16_t temp_centi_c, int16_t thr1, int16_t thr2)
{
	int32_t t1 = (int32_t)thr1 * 100;
	int32_t t2 = (int32_t)thr2 * 100;
	int32_t db = t1 + SENSOR_DEAD_BAND_C * 100;

	if (temp_centi_c <= t1) return 0;
	if (temp_centi_c >= t2) return FAN_HIGH_PCT;
	if (temp_centi_c <  db) return FAN_LOW_PCT;
	if (t2 <= db)           return FAN_HIGH_PCT;

	int32_t span = t2 - db;
	int32_t over = temp_centi_c - db;
	int32_t pct  = FAN_LOW_PCT + (FAN_HIGH_PCT - FAN_LOW_PCT) * over / span;
	if (pct < 0)   pct = 0;
	if (pct > 100) pct = 100;
	return (uint8_t)pct;
}

uint8_t cycle_mode_pwm(const struct prf_cfg *cfg, uint32_t cycle_elapsed_ms)
{
	uint32_t on_ms  = (uint32_t)cfg->con_sec  * 1000;
	uint32_t off_ms = (uint32_t)cfg->coff_sec * 1000;
	if (on_ms + off_ms == 0) return 0;

	uint32_t phase = cycle_elapsed_ms % (on_ms + off_ms);
	return (phase < on_ms) ? cfg->pwm_pct : 0;
}
```

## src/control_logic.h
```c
#ifndef APP_CONTROL_LOGIC_H_
#define APP_CONTROL_LOGIC_H_

/* Pure-logic helpers split out of control.c so they can be unit-tested
 * on the host (no Zephyr dependencies). The control thread links them
 * via #include "control_logic.h" and uses them from inside its loop. */

#include <stdint.h>
#include "sys_data.h"   /* struct prf_cfg */

#define SENSOR_DEAD_BAND_C  2     /* °C of pure-low band above thr1 */
#define FAN_LOW_PCT         30
#define FAN_HIGH_PCT        100

/* SENSOR mode: zero below thr1, FAN_LOW_PCT in the dead band, linear
 * ramp FAN_LOW_PCT → FAN_HIGH_PCT between (thr1+SENSOR_DEAD_BAND_C) and
 * thr2, FAN_HIGH_PCT at and above thr2. Inputs are centi-°C for the
 * temperature and whole °C for the thresholds. */
uint8_t sensor_mode_pwm(int16_t temp_centi_c, int16_t thr1, int16_t thr2);

/* CYCLE mode: alternates between cfg->pwm_pct (during cfg->con_sec) and
 * 0 (during cfg->coff_sec). cycle_elapsed_ms is the caller's running
 * counter modulo (con+off). Returns 0 when both durations are zero. */
uint8_t cycle_mode_pwm(const struct prf_cfg *cfg, uint32_t cycle_elapsed_ms);

#endif /* APP_CONTROL_LOGIC_H_ */
```

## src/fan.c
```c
#include "fan.h"

#include <errno.h>
#include <zephyr/kernel.h>
#include <zephyr/device.h>
#include <zephyr/drivers/pwm.h>
#include <zephyr/drivers/gpio.h>
#include <zephyr/logging/log.h>

LOG_MODULE_REGISTER(fan, LOG_LEVEL_INF);

static const struct pwm_dt_spec  fan_pwm   = PWM_DT_SPEC_GET(DT_ALIAS(fan_pwm));
static const struct gpio_dt_spec fan_power = GPIO_DT_SPEC_GET(DT_ALIAS(fan_power), gpios);

static uint8_t cur_pct;

int fan_init(void)
{
	if (!pwm_is_ready_dt(&fan_pwm)) {
		LOG_ERR("fan PWM device not ready");
		return -ENODEV;
	}
	if (!gpio_is_ready_dt(&fan_power)) {
		LOG_ERR("fan-power GPIO not ready");
		return -ENODEV;
	}

	int rc = gpio_pin_configure_dt(&fan_power, GPIO_OUTPUT_INACTIVE);
	if (rc) {
		LOG_ERR("gpio cfg: %d", rc);
		return rc;
	}

	rc = fan_set_percent(0);
	LOG_INF("fan ready (PWM period %u ns)", (unsigned)fan_pwm.period);
	return rc;
}

int fan_set_percent(uint8_t pct)
{
	if (pct > 100) pct = 100;
	uint64_t pulse = ((uint64_t)fan_pwm.period * pct) / 100U;
	int rc = pwm_set_pulse_dt(&fan_pwm, (uint32_t)pulse);
	if (rc == 0) {
		cur_pct = pct;
	} else {
		LOG_WRN("pwm set %u%% -> %d", pct, rc);
	}
	return rc;
}

int fan_power_set(bool on)
{
	return gpio_pin_set_dt(&fan_power, on ? 1 : 0);
}

uint8_t fan_get_percent(void)
{
	return cur_pct;
}
```

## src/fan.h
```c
#ifndef APP_FAN_H_
#define APP_FAN_H_

#include <stdint.h>
#include <stdbool.h>

/* Configure PWM + GPIO. Call once from main(). */
int  fan_init(void);

/* Set duty cycle 0..100 %. Idempotent; safe to call from any thread. */
int  fan_set_percent(uint8_t pct);

/* Drive the fan-power gate GPIO. */
int  fan_power_set(bool on);

/* Last value passed to fan_set_percent (best-effort, not under mutex). */
uint8_t fan_get_percent(void);

#endif /* APP_FAN_H_ */
```

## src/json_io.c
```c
#include "json_io.h"

#include <errno.h>
#include <stdio.h>
#include <stdlib.h>
#include <string.h>
#include <ctype.h>

/* ------------------------------------------------------------ helpers */

static const char *mode_str(uint8_t m)
{
	switch (m) {
	case PRF_MODE_POWER:    return "power";
	case PRF_MODE_FIXED:    return "fixed";
	case PRF_MODE_SENSOR:   return "sensor";
	case PRF_MODE_CYCLE:    return "cycle";
	case PRF_MODE_SCHEDULE: return "schedule";
	default:                return "unknown";
	}
}

#define EMIT(...) do {                                          \
		int _n = snprintf(out + pos, cap - pos, __VA_ARGS__); \
		if (_n < 0 || (size_t)_n >= cap - pos) return -ENOMEM; \
		pos += (size_t)_n;                                       \
	} while (0)

/* ------------------------------------------------------------ formatters */

ssize_t jsf_status(char *out, size_t cap,
		   bool master_on, bool sample_valid,
		   int16_t temp_centi_c, uint16_t humid_centi_pct,
		   const struct prf_cfg *cfg,
		   uint8_t actual_pwm, const char *status)
{
	size_t pos = 0;

	EMIT("{\"cmd\":\"GetStatusData\",\"ms\":%s,\"sensors\":{\"s0\":{",
	     master_on ? "true" : "false");

	if (sample_valid) {
		int  t_int   = temp_centi_c / 100;
		int  t_frac  = (temp_centi_c < 0 ? -temp_centi_c : temp_centi_c) % 100;
		/* When -1.00 < temp < 0.00, integer truncation makes t_int 0
		 * and we'd lose the sign; print the minus explicitly. */
		const char *sign = (temp_centi_c < 0 && t_int == 0) ? "-" : "";
		EMIT("\"temp\":%s%d.%02d,\"humid\":%u.%02u",
		     sign, t_int, t_frac,
		     (unsigned)(humid_centi_pct / 100),
		     (unsigned)(humid_centi_pct % 100));
	} else {
		EMIT("\"temp\":null,\"humid\":null");
	}

	EMIT("}},\"prf\":[{\"index\":0,\"type\":\"fan\",\"status\":\"%s\",\"pwm\":%u}]}",
	     status ? status : "unknown", (unsigned)actual_pwm);

	(void)cfg;     /* status carries actual not configured */
	return (ssize_t)pos;
}

ssize_t jsf_devinfo(char *out, size_t cap,
		    const char *name, const char *fw,
		    const char *uid, const char *board)
{
	size_t pos = 0;
	EMIT("{\"cmd\":\"GetDeviceInfo\",\"name\":\"%s\",\"fw\":\"%s\","
	     "\"uid\":\"%s\",\"board\":\"%s\"}",
	     name ? name : "", fw ? fw : "", uid ? uid : "", board ? board : "");
	return (ssize_t)pos;
}

ssize_t jsf_prpconf(char *out, size_t cap, const struct prf_cfg *cfg)
{
	size_t pos = 0;
	EMIT("{\"cmd\":\"GetPeripheralSetsConfig\",\"sets\":[{"
	     "\"index\":0,\"type\":\"fan\",\"mode\":\"%s\","
	     "\"pwr\":%s,\"thr1\":%d,\"thr2\":%d,"
	     "\"pwm\":%u,\"con\":%u,\"coff\":%u,"
	     "\"ont\":%u,\"offt\":%u}]}",
	     mode_str(cfg->mode),
	     cfg->pwr ? "true" : "false",
	     (int)cfg->thr1_c, (int)cfg->thr2_c,
	     (unsigned)cfg->pwm_pct,
	     (unsigned)cfg->con_sec, (unsigned)cfg->coff_sec,
	     (unsigned)cfg->ont_sec, (unsigned)cfg->offt_sec);
	return (ssize_t)pos;
}

ssize_t jsf_updateret(char *out, size_t cap, int code, const char *val)
{
	size_t pos = 0;
	if (val) {
		EMIT("{\"cmd\":\"UpdateRet\",\"code\":%d,\"val\":\"%s\"}", code, val);
	} else {
		EMIT("{\"cmd\":\"UpdateRet\",\"code\":%d}", code);
	}
	return (ssize_t)pos;
}

/* ------------------------------------------------------------- parsers
 *
 * Find "key" at top-level (not inside a string literal value), advance
 * past the ':' and any whitespace, and return a pointer to the start
 * of the value. NULL if not found.
 */

static const char *find_value(const char *json, const char *key)
{
	if (!json || !key) return NULL;

	size_t keylen = strlen(key);
	const char *p = json;

	while ((p = strstr(p, key)) != NULL) {
		/* Match must be a quoted KEY (i.e. followed by ':'), not the
		 * value of a different key. Without this check, searching for
		 * "name" in {"key":"name","name":"foo"} would hit the value
		 * "name" first. */
		if (p > json && p[-1] == '"' && p[keylen] == '"') {
			const char *q = p + keylen + 1;
			while (*q == ' ' || *q == '\t') q++;
			if (*q != ':') {
				p += keylen;
				continue;        /* it was a string value */
			}
			q++;
			while (*q == ' ' || *q == '\t') q++;
			if (*q) return q;
		}
		p += keylen;
	}
	return NULL;
}

int jsp_get_str(const char *json, const char *key, char *out, size_t cap)
{
	const char *v = find_value(json, key);
	if (!v) return -ENOENT;
	if (*v != '"') return -EINVAL;
	v++;
	size_t i = 0;
	while (*v && i + 1 < cap) {
		if (*v == '\\' && v[1]) {
			/* Pass through one escape (\", \\, \/, etc). Just copy
			 * the next char verbatim; no full unicode handling. */
			v++;
			out[i++] = *v++;
			continue;
		}
		if (*v == '"') break;
		out[i++] = *v++;
	}
	if (*v != '"') return -EINVAL;
	out[i] = '\0';
	return 0;
}

int jsp_get_int(const char *json, const char *key, int32_t *out)
{
	const char *v = find_value(json, key);
	if (!v) return -ENOENT;
	if (*v != '-' && !isdigit((unsigned char)*v)) return -EINVAL;
	char *end;
	long val = strtol(v, &end, 10);
	if (end == v) return -EINVAL;
	*out = (int32_t)val;
	return 0;
}

int jsp_get_bool(const char *json, const char *key, bool *out)
{
	const char *v = find_value(json, key);
	if (!v) return -ENOENT;
	if (!strncmp(v, "true",  4)) { *out = true;  return 0; }
	if (!strncmp(v, "false", 5)) { *out = false; return 0; }
	return -EINVAL;
}
```

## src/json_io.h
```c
#ifndef APP_JSON_IO_H_
#define APP_JSON_IO_H_

#include <stdint.h>
#include <stdbool.h>
#include <stddef.h>
#include <sys/types.h>      /* ssize_t */

#include "sys_data.h"

/* ---------------------------------------------------------- formatters
 * All return number of bytes written (excluding terminating NUL),
 * or -ENOMEM if the buffer was too small.
 */

ssize_t jsf_status(char *out, size_t cap,
		   bool master_on, bool sample_valid,
		   int16_t temp_centi_c, uint16_t humid_centi_pct,
		   const struct prf_cfg *cfg,
		   uint8_t actual_pwm, const char *status);

ssize_t jsf_devinfo(char *out, size_t cap,
		    const char *name, const char *fw,
		    const char *uid, const char *board);

ssize_t jsf_prpconf(char *out, size_t cap, const struct prf_cfg *cfg);

ssize_t jsf_updateret(char *out, size_t cap, int code, const char *val);

/* ----------------------------------------------------------- parsers
 *
 * Tiny key-lookup parser. Searches for "key" within json[] and extracts
 * the first scalar value that follows ':'. Does NOT understand nested
 * objects, escaped quotes inside string values, or whitespace inside
 * keys — all of which are absent from the frontend's command schema.
 *
 * Return 0 on success, -ENOENT if key absent, -EINVAL if value malformed.
 */

int jsp_get_str(const char *json,  const char *key, char *out, size_t cap);
int jsp_get_int(const char *json,  const char *key, int32_t *out);
int jsp_get_bool(const char *json, const char *key, bool *out);

#endif /* APP_JSON_IO_H_ */
```
